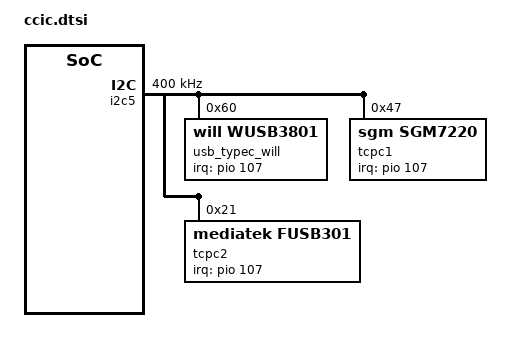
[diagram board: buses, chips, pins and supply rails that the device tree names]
&i2c5 {
	clock-frequency = <400000>;
	usb_typec_will:wusb3801@60 {
		compatible = "will,wusb3801";
		reg = <0x60>;
		interrupt-parent = <&pio>;
		interrupts = <107 0>;
		wusb3801,irq-gpio = <&pio 107 0x0>;
		interrupt-name = "wusb3801_int_irq";
		wusb3801,init-mode = <32>;
		wusb3801,host-current = <0x01>;
		wusb3801,drp-toggle-time = <0>;
		status = "okay";
	};

	tcpc1:sgm7220@47 {
		compatible = "sgm,sgm7220";
		reg = <0x47>;
		interrupt-parent = <&pio>;
		interrupts = <107 0>;
		sgm7220,irq_gpio = <&pio 107 0>;
		interrupt-name = "sgm7220_int_irq";
		debounce = <107 0>;
		status = "okay";
	};

	/*HS03s for SR-AL5625-01-541 by wangzikang at 20210614 start*/	
	tcpc2:fusb301@21 {
		compatible = "mediatek,fusb301";
		reg = <0x21>;
		interrupt-parent = <&pio>;
		interrupts = <107 0>;
		fusb301a,irq-gpio = <&pio 107 0x0>;
		interrupt-name = "fusb301a_int_irq";
		fusb301a,init-mode = <32>;
		fusb301a,host-current = <0x01>;
		fusb301a,drp-toggle-time = <0>;
		status = "okay";
	};
	/*HS03s for SR-AL5625-01-541 by wangzikang at 20210614 end*/

};

/ {
	mt6370_typec: type_c_port0 {
		/* 0: dfp/ufp, 1: dfp, 2: ufp */
		tcpc-dual,supported_modes = <0>;
		mt-tcpc,name = "type_c_port0"; /* tcpc_device's name */
		/* 0: SNK Only, 1: SRC Only, 2: DRP, 3: Try.SRC, 4: Try.SNK */
		mt-tcpc,role_def = <2>;
		mt-tcpc,rp_level = <1>; /* 0: Default, 1: 1.5, 2: 3.0 */
		/* 0: Never, 1: Always, 2: EMarkOnly, 3: StartOnly */
		mt-tcpc,vconn_supply  = <1>;
		/* the number of notifier supply */
#if (CONFIG_MTK_GAUGE_VERSION == 30)
		mt-tcpc,notifier_supply_num = <3>;
#else
		mt-tcpc,notifier_supply_num = <2>;
#endif
		mt6370pd,intr_gpio = <&pio 107 0x0>;
		mt6370pd,intr_gpio_num = <107>;
	};
};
